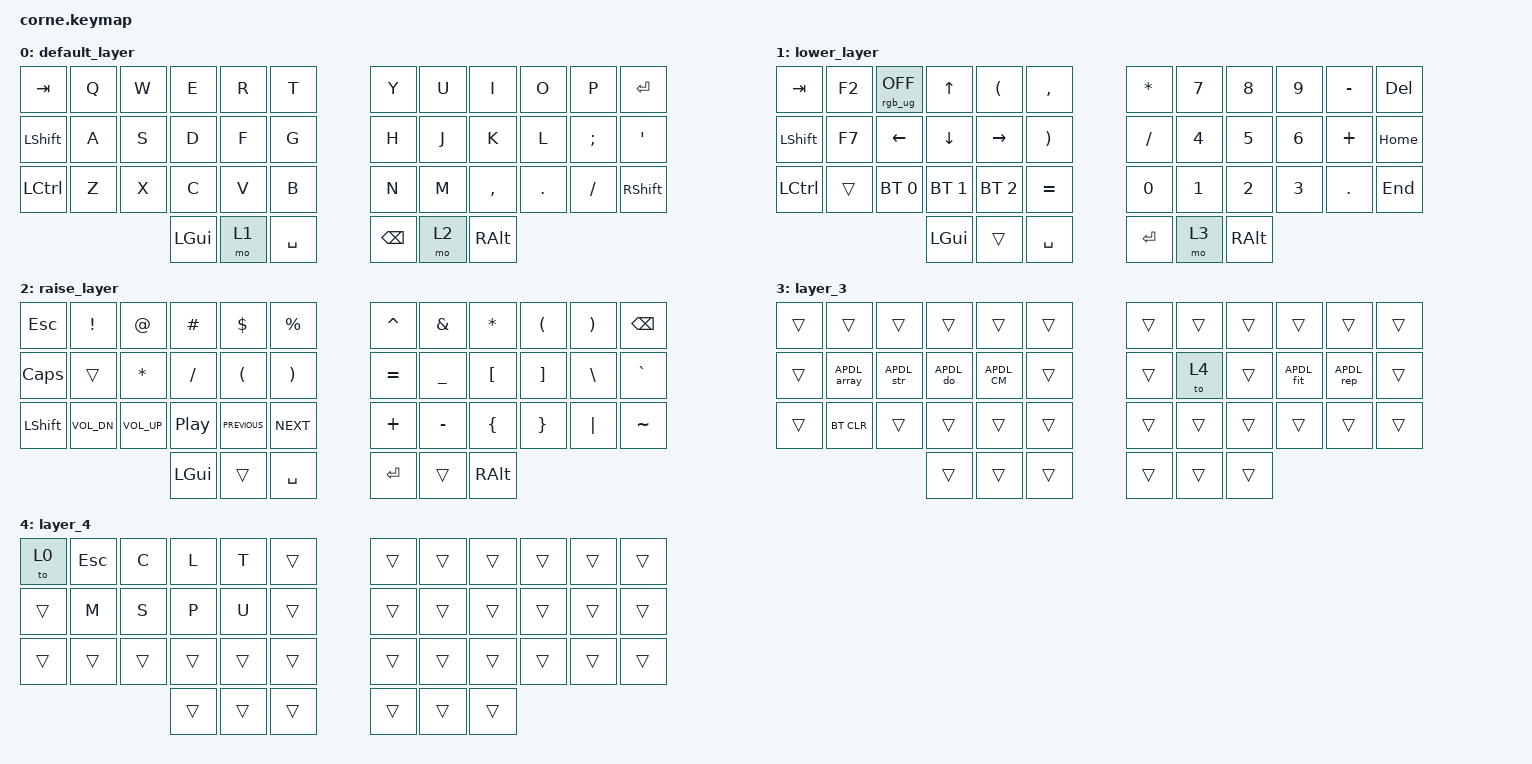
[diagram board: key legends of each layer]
/*
 * Copyright (c) 2020 The ZMK Contributors
 *
 * SPDX-License-Identifier: MIT
 */

#include <behaviors.dtsi>
#include <dt-bindings/zmk/bt.h>
#include <dt-bindings/zmk/keys.h>
#include <dt-bindings/zmk/rgb.h>

/ {
    macros {
        APDL_rep: APDL {
            compatible = "zmk,behavior-macro";
            #binding-cells = <0>;
            bindings = <&kp FSLH &kp R &kp E &kp P &kp RET>;
            label = "APDL";
        };

        APDL_CM: APDL_CM {
            compatible = "zmk,behavior-macro";
            #binding-cells = <0>;
            bindings = <&kp C &kp M &kp S &kp E &kp L &kp COMMA &kp COMMA>;
            label = "APDL_CM";
        };

        APDL_fit: APDL_fit {
            compatible = "zmk,behavior-macro";
            #binding-cells = <0>;
            bindings = <&none &kp FSLH &kp V &kp I &kp E &kp W &kp COMMA &kp N1 &kp COMMA &kp N1 &kp COMMA &kp N2 &kp COMMA &kp N3 &kp DLLR &kp FSLH &kp A &kp U &kp T &kp O &kp COMMA &kp N1 &kp DLLR &kp FSLH &kp R &kp E &kp P &kp RET>;
            label = "APDL_FIT";
        };

        APDL_do: APDL_do {
            compatible = "zmk,behavior-macro";
            #binding-cells = <0>;
            bindings = <&none &kp STAR &kp D &kp O &kp COMMA &kp R &kp COMMA &kp N2 &kp COMMA &kp N9 &kp N9 &kp RET &kp C &kp M &kp S &kp E &kp L &kp COMMA &kp COMMA &kp RET &kp STAR &kp E &kp N &kp D &kp D &kp O &kp ENTER>;
            label = "APDL_DO";
        };

        APDL_array: APDL_array {
            compatible = "zmk,behavior-macro";
            #binding-cells = <0>;
            bindings = <&none &kp STAR &kp D &kp I &kp M &kp COMMA &kp T &kp S &kp T &kp COMMA &kp A &kp R &kp R &kp A &kp Y &kp COMMA &kp N9 &kp N9 &kp COMMA &kp N1 &kp RET>;
            label = "APDL_ARRAY";
        };

        APDL_str: APDL_str {
            compatible = "zmk,behavior-macro";
            #binding-cells = <0>;
            bindings = <&none &kp STAR &kp D &kp I &kp M &kp COMMA &kp S &kp T &kp R &kp UNDER &kp COMMA &kp S &kp T &kp R &kp I &kp N &kp G &kp COMMA &kp N7 &kp N2 &kp COMMA &kp N9 &kp N9 &kp ENTER>;
            label = "APDL_STR";
        };
    };

    keymap {
        compatible = "zmk,keymap";

        default_layer {
            // -----------------------------------------------------------------------------------------
            // |  TAB |  Q  |  W  |  E  |  R  |  T  |   |  Y  |  U   |  I  |  O  |  P  | BSPC |
            // | CTRL |  A  |  S  |  D  |  F  |  G  |   |  H  |  J   |  K  |  L  |  ;  |  '   |
            // | SHFT |  Z  |  X  |  C  |  V  |  B  |   |  N  |  M   |  ,  |  .  |  /  | ESC  |
            //                    | GUI | LWR | SPC |   | ENT | RSE  | ALT |

            bindings = <
&kp TAB           &kp Q  &kp W  &kp E     &kp R  &kp T        &kp Y          &kp U  &kp I          &kp O    &kp P     &kp ENTER
&kp LEFT_SHIFT    &kp A  &kp S  &kp D     &kp F  &kp G        &kp H          &kp J  &kp K          &kp L    &kp SEMI  &kp SQT
&kp LEFT_CONTROL  &kp Z  &kp X  &kp C     &kp V  &kp B        &kp N          &kp M  &kp COMMA      &kp DOT  &kp FSLH  &kp RIGHT_SHIFT
                                &kp LGUI  &mo 1  &kp SPACE    &kp BACKSPACE  &mo 2  &kp RIGHT_ALT
            >;
        };

        lower_layer {
            // -----------------------------------------------------------------------------------------
            // |  TAB |  1  |  2  |  3  |  4  |  5  |   |  6  |  7  |  8  |  9  |  0  | BSPC |
            // | BTCLR| BT1 | BT2 | BT3 | BT4 | BT5 |   | LFT | DWN |  UP | RGT |     |      |
            // | SHFT |     |     |     |     |     |   |     |     |     |     |     |      |
            //                    | GUI |     | SPC |   | ENT |     | ALT |

            bindings = <
&kp TAB           &kp F2  &rgb_ug RGB_OFF  &kp UP_ARROW    &kp LEFT_PARENTHESIS  &kp COMMA                &kp STAR   &kp N7  &kp N8    &kp N9  &kp MINUS  &kp DELETE
&kp LEFT_SHIFT    &kp F7  &kp LEFT         &kp DOWN_ARROW  &kp RIGHT_ARROW       &kp RIGHT_PARENTHESIS    &kp FSLH   &kp N4  &kp N5    &kp N6  &kp PLUS   &kp HOME
&kp LEFT_CONTROL  &trans  &bt BT_SEL 0     &bt BT_SEL 1    &bt BT_SEL 2          &kp EQUAL                &kp N0     &kp N1  &kp N2    &kp N3  &kp DOT    &kp END
                                           &kp LGUI        &trans                &kp SPACE                &kp ENTER  &mo 3   &kp RALT
            >;
        };

        raise_layer {
            // -----------------------------------------------------------------------------------------
            // |  TAB |  !  |  @  |  #  |  $  |  %  |   |  ^  |  &  |  *  |  (  |  )  | BSPC |
            // | CTRL |     |     |     |     |     |   |  -  |  =  |  [  |  ]  |  \  |  `   |
            // | SHFT |     |     |     |     |     |   |  _  |  +  |  {  |  }  | "|" |  ~   |
            //                    | GUI |     | SPC |   | ENT |     | ALT |

            bindings = <
&kp ESCAPE    &kp EXCL      &kp AT           &kp HASH          &kp DLLR              &kp PRCNT                &kp CARET  &kp AMPS   &kp ASTRK  &kp LPAR  &kp RPAR  &kp BSPC
&kp CAPSLOCK  &trans        &kp ASTRK        &kp SLASH         &kp LEFT_PARENTHESIS  &kp RIGHT_PARENTHESIS    &kp EQUAL  &kp UNDER  &kp LBKT   &kp RBKT  &kp BSLH  &kp GRAVE
&kp LSHFT     &kp C_VOL_DN  &kp C_VOLUME_UP  &kp C_PLAY_PAUSE  &kp C_PREVIOUS        &kp C_NEXT               &kp PLUS   &kp MINUS  &kp LBRC   &kp RBRC  &kp PIPE  &kp TILDE
                                             &kp LGUI          &trans                &kp SPACE                &kp ENTER  &trans     &kp RALT
            >;
        };

        layer_3 {
            bindings = <
&trans  &trans       &trans     &trans    &trans    &trans    &trans  &trans  &trans  &trans     &trans     &trans
&trans  &APDL_array  &APDL_str  &APDL_do  &APDL_CM  &trans    &trans  &to 4   &trans  &APDL_fit  &APDL_rep  &trans
&trans  &bt BT_CLR   &trans     &trans    &trans    &trans    &trans  &trans  &trans  &trans     &trans     &trans
                                &trans    &trans    &trans    &trans  &trans  &trans
            >;
        };

        layer_4 {
            bindings = <
&to 0   &kp ESCAPE  &kp C   &kp L   &kp T   &trans    &trans  &trans  &trans  &trans  &trans  &trans
&trans  &kp M       &kp S   &kp P   &kp U   &trans    &trans  &trans  &trans  &trans  &trans  &trans
&trans  &trans      &trans  &trans  &trans  &trans    &trans  &trans  &trans  &trans  &trans  &trans
                            &trans  &trans  &trans    &trans  &trans  &trans
            >;
        };
    };
};
